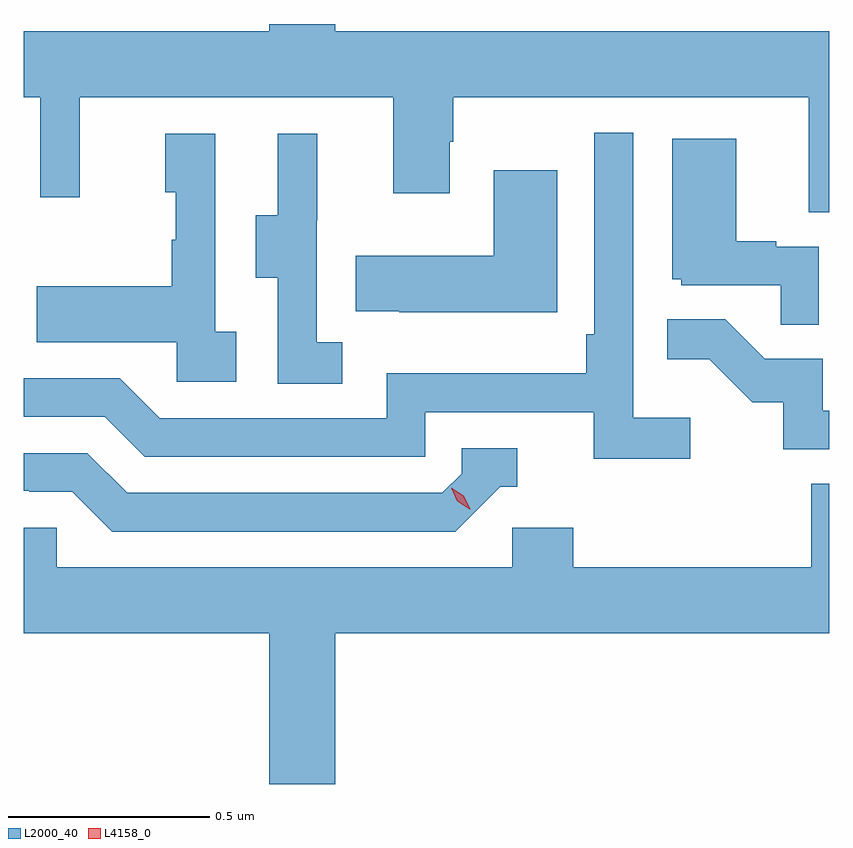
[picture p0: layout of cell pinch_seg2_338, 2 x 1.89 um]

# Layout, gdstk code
import gdstk
lib = gdstk.Library(unit=1e-6, precision=1e-09)
def P(c, l, *ps):  # polygons
    for p in ps: c.add(gdstk.Polygon(p, *l))
L2000_40 = (2000, 40)
L4158_0 = (4158, 0)

pinch_seg2_338 = lib.new_cell('pinch_seg2_338')
P(pinch_seg2_338, L2000_40, [(969.595,641.14),(968.368,641.14),(968.368,641.158),(968.204,641.158),(968.204,641.14),(967.595,641.14),(967.595,640.976),(967.635,640.976),(967.635,640.728),(967.733,640.728),(967.733,640.976),(968.513,640.976),(968.513,640.737),(968.653,640.737),(968.653,640.865),(968.661,640.865),(968.661,640.976),(969.545,640.976),(969.545,640.69),(969.595,640.69)],
  [(969.25,640.18),(969.108,640.18),(969.108,640.888),(969.012,640.888),(969.012,640.387),(968.992,640.387),(968.992,640.291),(968.496,640.291),(968.496,640.179),(967.932,640.179),(967.833,640.278),(967.595,640.278),(967.595,640.182),(967.796,640.182),(967.895,640.083),(968.592,640.083),(968.592,640.194),(969.011,640.194),(969.011,640.078),(969.25,640.078)],
  [(968.386,640.367),(968.322,640.367),(968.322,640.671),(968.324,640.671),(968.324,640.885),(968.225,640.885),(968.225,640.683),(968.171,640.683),(968.171,640.528),(968.226,640.528),(968.226,640.264),(968.386,640.264)],
  [(968.122,640.394),(968.07,640.394),(968.07,640.885),(967.946,640.885),(967.946,640.74),(967.972,640.74),(967.972,640.622),(967.962,640.622),(967.962,640.507),(967.627,640.507),(967.627,640.367),(967.974,640.367),(967.974,640.269),(968.122,640.269)],
  [(969.57,640.605),(969.464,640.605),(969.464,640.618),(969.364,640.618),(969.364,640.873),(969.206,640.873),(969.206,640.524),(969.228,640.524),(969.228,640.509),(969.475,640.509),(969.475,640.411),(969.57,640.411)],
  [(968.92,640.795),(968.762,640.795),(968.762,640.582),(968.419,640.582),(968.419,640.445),(968.527,640.445),(968.527,640.442),(968.92,640.442)],
  [(969.595,640.197),(969.579,640.197),(969.579,640.326),(969.435,640.326),(969.337,640.424),(969.193,640.424),(969.193,640.325),(969.297,640.325),(969.404,640.218),(969.481,640.218),(969.481,640.101),(969.595,640.101)],
  [(968.778,640.008),(968.821,640.008),(968.821,640.104),(968.682,640.104),(968.682,640.041),(968.634,639.993),(967.851,639.993),(967.752,640.092),(967.595,640.092),(967.595,639.999),(967.608,639.999),(967.608,639.996),(967.715,639.996),(967.814,639.897),(968.667,639.897)],
  [(968.368,639.644),(969.595,639.644),(969.595,640.016),(969.551,640.016),(969.551,639.808),(968.96,639.808),(968.96,639.906),(968.808,639.906),(968.808,639.808),(967.677,639.808),(967.677,639.906),(967.595,639.906),(967.595,639.644),(968.204,639.644),(968.204,639.27),(968.368,639.27)])
P(pinch_seg2_338, L4158_0, [(968.703,639.953),(968.672,639.973),(968.656,640.006),(968.656,640.006),(968.656,640.006),(968.687,639.986),(968.704,639.953),(968.704,639.953)])

lib.write_gds('pinch_seg2_338.gds')
